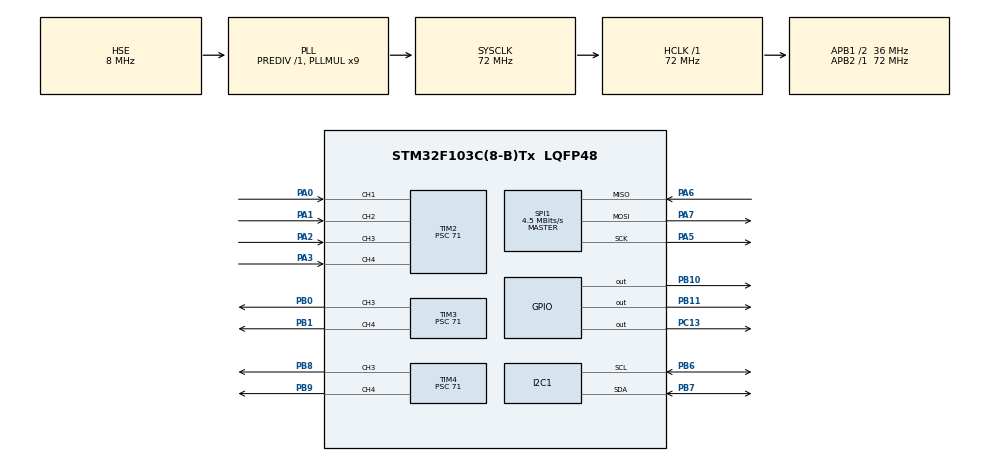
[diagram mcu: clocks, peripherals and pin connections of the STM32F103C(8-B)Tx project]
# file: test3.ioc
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I2C1.I2C_Mode=I2C_Fast
Mcu.Family=STM32F1
Mcu.Name=STM32F103C(8-B)Tx
Mcu.Package=LQFP48
NVIC.PriorityGroup=NVIC_PRIORITYGROUP_4
NVIC.TIM2_IRQn=true\:0\:0\:false\:false\:true\:true\:true\:true
NVIC.TIM3_IRQn=true\:0\:0\:false\:false\:true\:true\:true\:true
NVIC.TIM4_IRQn=true\:0\:0\:false\:false\:true\:true\:true\:true
PA0-WKUP.Signal=S_TIM2_CH1_ETR
PA1.Signal=S_TIM2_CH2
PA13.Mode=Serial_Wire
PA13.Signal=SYS_JTMS-SWDIO
PA14.Mode=Serial_Wire
PA14.Signal=SYS_JTCK-SWCLK
PA2.Signal=S_TIM2_CH3
PA3.Signal=S_TIM2_CH4
PA5.Mode=Full_Duplex_Master
PA5.Signal=SPI1_SCK
PA6.Mode=Full_Duplex_Master
PA6.Signal=SPI1_MISO
PA7.Mode=Full_Duplex_Master
PA7.Signal=SPI1_MOSI
PB0.Signal=S_TIM3_CH3
PB1.Signal=S_TIM3_CH4
PB10.Signal=GPIO_Output
PB11.Signal=GPIO_Output
PB6.Mode=I2C
PB6.Signal=I2C1_SCL
PB7.Mode=I2C
PB7.Signal=I2C1_SDA
PB8.Signal=S_TIM4_CH3
PB9.Signal=S_TIM4_CH4
PC13-TAMPER-RTC.Signal=GPIO_Output
PD0-OSC_IN.Mode=HSE-External-Oscillator
PD0-OSC_IN.Signal=RCC_OSC_IN
PD1-OSC_OUT.Mode=HSE-External-Oscillator
PD1-OSC_OUT.Signal=RCC_OSC_OUT
ProjectManager.HeapSize=0x200
ProjectManager.StackSize=0x400
ProjectManager.TargetToolchain=MDK-ARM V5.32
RCC.AHBFreq_Value=72000000
RCC.APB1CLKDivider=RCC_HCLK_DIV2
RCC.APB1Freq_Value=36000000
RCC.APB1TimFreq_Value=72000000
RCC.APB2Freq_Value=72000000
RCC.APB2TimFreq_Value=72000000
RCC.HCLKFreq_Value=72000000
RCC.PLLMUL=RCC_PLL_MUL9
RCC.PLLSourceVirtual=RCC_PLLSOURCE_HSE
RCC.SYSCLKFreq_VALUE=72000000
RCC.SYSCLKSource=RCC_SYSCLKSOURCE_PLLCLK
RCC.USBFreq_Value=72000000
SH.S_TIM2_CH1_ETR.0=TIM2_CH1,Input_Capture1_from_TI1
SH.S_TIM2_CH2.0=TIM2_CH2,Input_Capture2_from_TI2
SH.S_TIM2_CH3.0=TIM2_CH3,Input_Capture3_from_TI3
SH.S_TIM2_CH4.0=TIM2_CH4,Input_Capture4_from_TI4
SH.S_TIM3_CH3.0=TIM3_CH3,PWM Generation3 CH3
SH.S_TIM3_CH4.0=TIM3_CH4,PWM Generation4 CH4
SH.S_TIM4_CH3.0=TIM4_CH3,PWM Generation3 CH3
SH.S_TIM4_CH4.0=TIM4_CH4,PWM Generation4 CH4
SPI1.BaudRatePrescaler=SPI_BAUDRATEPRESCALER_16
SPI1.CalculateBaudRate=4.5 MBits/s
SPI1.Direction=SPI_DIRECTION_2LINES
SPI1.Mode=SPI_MODE_MASTER
SPI1.VirtualType=VM_MASTER
TIM2.Channel-Input_Capture1_from_TI1=TIM_CHANNEL_1
TIM2.Channel-Input_Capture2_from_TI2=TIM_CHANNEL_2
TIM2.Channel-Input_Capture3_from_TI3=TIM_CHANNEL_3
TIM2.Channel-Input_Capture4_from_TI4=TIM_CHANNEL_4
TIM2.Prescaler=71
TIM3.Channel-PWM\ Generation3\ CH3=TIM_CHANNEL_3
TIM3.Channel-PWM\ Generation4\ CH4=TIM_CHANNEL_4
TIM3.Period=3999
TIM3.Prescaler=71
TIM4.Channel-PWM\ Generation3\ CH3=TIM_CHANNEL_3
TIM4.Channel-PWM\ Generation4\ CH4=TIM_CHANNEL_4
TIM4.Period=3999
TIM4.Prescaler=71
board=custom

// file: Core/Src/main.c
/* USER CODE BEGIN Header */
/**
  ******************************************************************************
  * @file           : main.c
  * @brief          : Main program body
  ******************************************************************************
  * @attention
  *
  * Copyright (c) 2024 STMicroelectronics.
  * All rights reserved.
  *
  * This software is licensed under terms that can be found in the LICENSE file
  * in the root directory of this software component.
  * If no LICENSE file comes with this software, it is provided AS-IS.
  *
  ******************************************************************************
  */
/* USER CODE END Header */
#include "main.h"

/* USER CODE BEGIN Includes */
#include <math.h>
#include <stdlib.h>
#include <stdint.h>
#include <stdbool.h>
#include "MY_NRF24.h"
/* USER CODE END Includes */

/* USER CODE BEGIN PTD */
#define MPU6050_ADDR 			0x68<<1
#define SMPLRT_DIV_REG 		0x19
#define GYRO_CONFIG_REG 	0x1B
#define ACCEL_CONFIG_REG 	0x1C
#define ACCEL_XOUT_H_REG  0x3B
#define TEMP_OUT_H_REG 		0x41
#define GYRO_XOUT_H_REG 	0x43
#define PWR_MGMT_1_REG 		0x6B
#define CONFIG       			0x1A

/* USER CODE END PTD */

I2C_HandleTypeDef hi2c1;

SPI_HandleTypeDef hspi1;

TIM_HandleTypeDef htim2;
TIM_HandleTypeDef htim3;
TIM_HandleTypeDef htim4;

/* USER CODE BEGIN PV */
uint8_t data;
uint32_t looptimer;
uint8_t buffer[2], tuffer[6], cuffer[6];
int16_t gyro_raw[3], acc_raw[3];
float gyro_cal[3];
float acc_cal[3];
int16_t acc_total_vector;
float angle_pitch_gyro, angle_roll_gyro;
float angle_pitch_acc, angle_roll_acc;
float angle_pitch, angle_roll;

int16_t raw_temp; float temp;
int i;
float prevtime, prevtime1,time1,elapsedtime1,prevtime2, time2,elapsedtime2;

float RateRoll, RatePitch, RateYaw;
float AccX, AccY, AccZ;

// kalman
float KalmanAngleRoll  =0,  Kalman_ERR_AngleRoll  = 2*2 ; // gia su sai so theo moi truc la 2
float KalmanAnglePitch =0,  Kalman_ERR_AnglePitch = 2*2 ;
float Kalman_ouput[2] = {0,0}; // angle prediction, uncertainly of the predictiobn

											//PID

float pid_set_points_roll,pid_set_points_pitch,pid_set_points_yaw; // roll, pitch, yaw
int pid_max[3] = { 400, 400, 400 };		 // roll, pitch, yaw
// Errors
float errors[3]; // Measured errors (compared to instructions) : [roll, pitch, yaw]
float delta_err[3] = { 0, 0, 0 }; // Error deltas in that order   : roll, pitch, yaw
float error_sum[3] = { 0, 0, 0 }; // Error sums (used for integral component) : [roll, pitch, yaw]
float previous_error[3] = { 0, 0, 0 }; // Last errors (used for derivative component) : [roll, pitch, yaw]
float angular_motions[3] = { 0, 0, 0 };
// PID coefficients

//float Kp[3] = { 1, 1, 0.5};
//float Ki[3] = {0.03, 0.03, 0.02}; 	 	// I: roll, pitch, yaw
//float Kd[3] = { 0.01, 0.01, 0 };         // D: roll, pitch, yaw

//float Kp[3] = { 0.9, 0.9, 1};
//float Ki[3] = {0.03, 0.03, 0.02}; 	 	// I: roll, pitch, yaw
//float Kd[3] = { 0.02, 0.02, 0.02 };         // D: roll, pitch, yaw

float Kp[3] = { 1, 1, 1};
float Ki[3] = {0.03, 0.03, 0.02}; 	 	// I: roll, pitch, yaw
float Kd[3] = { 0.01, 0.01, 0 };         // D: roll, pitch, yaw

float pid_roll = 0;
float pid_pitch = 0;
float pid_yaw = 0;

#define roll     0
#define pitch    1
#define yaw      2

float roll_level_adjust, pitch_level_adjust;

float capture1,capture2,capture3,capture4;
// Esc and active

uint8_t active, first_angle = 0;
int16_t esc1, esc2, esc3, esc4,throttle;

// NRF24 transmit
uint64_t TxpipeAddrs = 0x11223344AA;
float myTxData[32];

/* USER CODE END PV */

void SystemClock_Config(void);
static void MX_GPIO_Init(void);
static void MX_I2C1_Init(void);
static void MX_SPI1_Init(void);
static void MX_TIM2_Init(void);
static void MX_TIM3_Init(void);
static void MX_TIM4_Init(void);

/* USER CODE BEGIN 0 */

//Input capture callback
uint32_t channel_1_start, channel_1;
uint32_t channel_2_start, channel_2;
uint32_t channel_3_start, channel_3;
uint32_t channel_4_start, channel_4;

volatile uint32_t diff1 = 0, diff2 = 0, diff3 = 0, diff4 = 0;

uint8_t firt_capture1 = 0, firt_capture2 = 0, firt_capture3 = 0, firt_capture4 =0;	//fist_capture? 0-no 1-yes

void HAL_TIM_IC_CaptureCallback(TIM_HandleTypeDef *htim)
{
	if (htim->Channel == HAL_TIM_ACTIVE_CHANNEL_1) {
		if (firt_capture1 == 0) {
			channel_1_start = HAL_TIM_ReadCapturedValue(htim, TIM_CHANNEL_1);
			firt_capture1 = 1;
			__HAL_TIM_SET_CAPTUREPOLARITY(htim, TIM_CHANNEL_1,TIM_INPUTCHANNELPOLARITY_FALLING);
		} else if (firt_capture1 == 1) {
			channel_1 = HAL_TIM_ReadCapturedValue(htim, TIM_CHANNEL_1);
			if (channel_1 > channel_1_start)
				diff1 = channel_1 - channel_1_start;
			else if (channel_1 < channel_1_start)
				diff1 = (0xffff - channel_1_start) + channel_1;

			__HAL_TIM_SET_CAPTUREPOLARITY(htim, TIM_CHANNEL_1,TIM_INPUTCHANNELPOLARITY_RISING);
			firt_capture1 = 0;
		}
	}
	if (htim->Channel == HAL_TIM_ACTIVE_CHANNEL_2) {
		if (firt_capture2 == 0) {					//read
			channel_2_start = HAL_TIM_ReadCapturedValue(htim, TIM_CHANNEL_2);
			firt_capture2 = 1;
			__HAL_TIM_SET_CAPTUREPOLARITY(htim, TIM_CHANNEL_2,
					TIM_INPUTCHANNELPOLARITY_FALLING);
		} else if (firt_capture2 == 1) {
			channel_2 = HAL_TIM_ReadCapturedValue(htim, TIM_CHANNEL_2);
			if (channel_2 > channel_2_start)
				diff2 = channel_2 - channel_2_start;
			else if (channel_2 < channel_2_start)
				diff2 = (0xffff - channel_2_start) + channel_2;

			__HAL_TIM_SET_CAPTUREPOLARITY(htim, TIM_CHANNEL_2,
					TIM_INPUTCHANNELPOLARITY_RISING);
			firt_capture2 = 0;
		}
	}
	if (htim->Channel == HAL_TIM_ACTIVE_CHANNEL_3) {
		if (firt_capture3 == 0) {					//read
			channel_3_start = HAL_TIM_ReadCapturedValue(htim, TIM_CHANNEL_3);
			firt_capture3 = 1;
			//Change the input capture mode to the falling edge of the pulse
			__HAL_TIM_SET_CAPTUREPOLARITY(htim, TIM_CHANNEL_3,
					TIM_INPUTCHANNELPOLARITY_FALLING);
		} else if (firt_capture3 == 1) {
			channel_3 = HAL_TIM_ReadCapturedValue(htim, TIM_CHANNEL_3);
			if (channel_3 > channel_3_start)
				diff3 = channel_3 - channel_3_start;
			else if (channel_3 < channel_3_start)
				diff3 = (0xffff - channel_3_start) + channel_3;

			__HAL_TIM_SET_CAPTUREPOLARITY(htim, TIM_CHANNEL_3,
					TIM_INPUTCHANNELPOLARITY_RISING);
			firt_capture3 = 0;
		}
	}
	if (htim->Channel == HAL_TIM_ACTIVE_CHANNEL_4) {
		if (firt_capture4 == 0) {					//read
			channel_4_start = HAL_TIM_ReadCapturedValue(htim, TIM_CHANNEL_4);
			firt_capture4 = 1;
			//Change the input capture mode to the falling edge of the pulse
			__HAL_TIM_SET_CAPTUREPOLARITY(htim, TIM_CHANNEL_4,
					TIM_INPUTCHANNELPOLARITY_FALLING);
		} else if (firt_capture4 == 1) {
			channel_4 = HAL_TIM_ReadCapturedValue(htim, TIM_CHANNEL_4);
			if (channel_4 > channel_4_start)
				diff4 = channel_4 - channel_4_start;
			else if (channel_4 < channel_4_start)
				diff4 = (0xffff - channel_4_start) + channel_4;

			__HAL_TIM_SET_CAPTUREPOLARITY(htim, TIM_CHANNEL_4,
					TIM_INPUTCHANNELPOLARITY_RISING);
			firt_capture4 = 0;
		}
	}
}

// KALMAN
void Kalman (float KalmanState, float KalmanUncertainty, float KalmanInput, float KalmanMeasurement)  // kalma angle predictio, error, RateRoll, angle_roll
{
    KalmanState = KalmanState + 0.004 * KalmanInput; // 1/250
    KalmanUncertainty = KalmanUncertainty + 0.004 * 0.004 * 4 *4 ; 				//( T^2 * ERR^2)
    float KalmanGain = KalmanUncertainty* 1/ (1*KalmanUncertainty + 3*3) ;// err in measure
    KalmanState = KalmanState + KalmanGain * (KalmanMeasurement - KalmanState);  // current estimate
    KalmanUncertainty = (1- KalmanGain) * KalmanUncertainty;   // error in estimate

    Kalman_ouput[0] = KalmanState;
    Kalman_ouput[1] = KalmanUncertainty; // error estimate
}

// MPUinit
void MPU6050_Init()
{
  // power management register 0X6B we should write all 0's to wake the sensor up
  data =  0x00;
  HAL_I2C_Mem_Write(&hi2c1, MPU6050_ADDR, PWR_MGMT_1_REG,1 , &data, 1, HAL_MAX_DELAY);

	data =  0x05;
  HAL_I2C_Mem_Write(&hi2c1, MPU6050_ADDR, CONFIG,1 , &data, 1, HAL_MAX_DELAY);

  // Set Gyroscopic configuration in GYRO_CONFIG Register
		// XG_ST=0,YG_ST=0,ZG_ST=0, FS_SEL=1 -> ± 500 °/s
  data =  0x08;
  HAL_I2C_Mem_Write(&hi2c1, MPU6050_ADDR, GYRO_CONFIG_REG,1 , &data, 1, HAL_MAX_DELAY);

  // Set accelerometer configuration in ACCEL_CONFIG Register
		// XA_ST=0,YA_ST=0,ZA_ST=0, FS_SEL=3 -> ± 8g
  data =  0x10;
  HAL_I2C_Mem_Write(&hi2c1, MPU6050_ADDR, ACCEL_CONFIG_REG,1 , &data, 1, HAL_MAX_DELAY);
}

void Calibrate()
  {
    for ( i=0;i < 2000; i++)
    {
			if (i % 125 ==0) HAL_GPIO_TogglePin(GPIOC, GPIO_PIN_13);
//      prevtime2 = time2;
//      time2 = HAL_GetTick();
//      elapsedtime2 = (time2 - prevtime2) * 1000;
      cuffer[0] = 0x43 ;
      HAL_I2C_Master_Transmit(&hi2c1,MPU6050_ADDR, cuffer,1, HAL_MAX_DELAY);
      HAL_I2C_Master_Receive (&hi2c1,MPU6050_ADDR,cuffer, 6, HAL_MAX_DELAY);

      gyro_raw[0] = (cuffer[0] << 8 | cuffer[1]);
      gyro_raw[1] = (cuffer[2] << 8 | cuffer[3]);
      gyro_raw[2] = (cuffer[4] << 8 | cuffer[5]);

      gyro_cal[0] += gyro_raw[0];
      gyro_cal[1] += gyro_raw[1];
      gyro_cal[2] += gyro_raw[2];
      HAL_Delay(4);
    }
      gyro_cal[0] /= 2000;
      gyro_cal[1] /= 2000;
      gyro_cal[2] /= 2000;

		// calibrate value for acc
      acc_cal[0] = -50;
      acc_cal[1] = 50;
      acc_cal[2] = -560;
  }

  void Read_mpu_all()
  {
    tuffer[0] = 0x3B;
    HAL_I2C_Master_Transmit(&hi2c1,MPU6050_ADDR,tuffer,1, HAL_MAX_DELAY);
    HAL_I2C_Master_Receive(&hi2c1,MPU6050_ADDR,tuffer,6, HAL_MAX_DELAY);

    acc_raw[0] = (tuffer[0] << 8 | tuffer[1]) ; // roll
    acc_raw[1] = (tuffer[2] << 8 | tuffer[3]) ;//  pitch
    acc_raw[2] = (tuffer[4] << 8 | tuffer[5]) ;//  yaw

    acc_raw[0] += acc_cal[0];
    acc_raw[1] += acc_cal[1];
    acc_raw[2] += acc_cal[2];

    AccX= (float) acc_raw[0] / 4096;
    AccY= (float) acc_raw[1] / 4096;
    AccZ= (float) acc_raw[2] / 4096;

    angle_roll  =  atan(AccY / sqrt(AccX * AccX + AccZ* AccZ)) * 1/ (3.142/180);
    angle_pitch = -atan(AccX / sqrt(AccY * AccY + AccZ* AccZ)) * 1/ (3.142/180);

    buffer[0] = 0x41;
     HAL_I2C_Master_Transmit(&hi2c1,MPU6050_ADDR, buffer, 1,HAL_MAX_DELAY);
     HAL_I2C_Master_Receive(&hi2c1,MPU6050_ADDR, buffer, 2,HAL_MAX_DELAY);

    //  _temp
    raw_temp = (buffer[0] << 8  | buffer[1]);
    temp = (raw_temp /340.0) + 36.53;

    cuffer[0] = 0x43;
    HAL_I2C_Master_Transmit(&hi2c1,MPU6050_ADDR, cuffer, 1,HAL_MAX_DELAY);
    HAL_I2C_Master_Receive(&hi2c1,MPU6050_ADDR, cuffer, 6,HAL_MAX_DELAY);

    gyro_raw[0] = (cuffer[0] << 8 | cuffer[1]);
    gyro_raw[1] = (cuffer[2] << 8 | cuffer[3]);
    gyro_raw[2] = (cuffer[4] << 8 | cuffer[5]);

    gyro_raw[0] -= gyro_cal[0];
    gyro_raw[1] -= gyro_cal[1];
    gyro_raw[2] -= gyro_cal[2];

    RateRoll = (float) gyro_raw[0] /65.5;
    RatePitch = (float) gyro_raw[1] /65.5;
    RateYaw = (float) gyro_raw[2]  /65.5;

    // RateRoll = 0.7 * RateRoll + ((float) gyro_raw[0] /65.5) * 0.3;   // dec/s
    // RatePitch = 0.7 * RatePitch + ((float) gyro_raw[1] /65.5) * 0.3;
    // RateYaw = 0.7 * RateYaw + ((float) gyro_raw[2]  /65.5) * 0.3;
  }

void reset_pid(void)
  {
      errors[0] = 0;
			errors[1] = 0;
			errors[2] = 0;
			delta_err[0] = 0;
			delta_err[1] = 0;
			delta_err[2] = 0;
			error_sum[0] = 0;
			error_sum[1] = 0;
			error_sum[2] = 0;
			previous_error[0] = 0;
			previous_error[1] = 0;
			previous_error[2] = 0;
			pid_roll = 0;
			pid_pitch = 0;
			pid_yaw = 0;
  }

/* USER CODE END 0 */

int main(void)
{

  /* MCU Configuration--------------------------------------------------------*/

  /* Reset of all peripherals, Initializes the Flash interface and the Systick. */
  HAL_Init();

  /* Configure the system clock */
  SystemClock_Config();

  /* Initialize all configured peripherals */
  MX_GPIO_Init();
  MX_I2C1_Init();
  MX_SPI1_Init();
  MX_TIM2_Init();
  MX_TIM3_Init();
  MX_TIM4_Init();
  /* USER CODE BEGIN 2 */
	MPU6050_Init();
  Calibrate();
	NRF24_begin(GPIOB, GPIO_PIN_11, GPIO_PIN_10, hspi1);
	//NRF24_begin(GPIOB, CSNpin_Pin, CEpin_Pin, hspi1);
	NRF24_stopListening();
	NRF24_openWritingPipe(TxpipeAddrs);
	NRF24_setAutoAck(true);
	NRF24_setChannel(52);
	NRF24_setPayloadSize(32);
	NRF24_enableDynamicPayloads();
	NRF24_enableAckPayload();

  HAL_TIM_IC_Start_IT(&htim2, TIM_CHANNEL_1);
	HAL_TIM_IC_Start_IT(&htim2, TIM_CHANNEL_2);
	HAL_TIM_IC_Start_IT(&htim2, TIM_CHANNEL_3);
	HAL_TIM_IC_Start_IT(&htim2, TIM_CHANNEL_4);
	//wait for connection tx-rx
	while (diff1 < 990 || diff2 < 990 || diff3 < 990 || diff4 < 990);
	//while (diff3 < 990 || diff3 > 1050);

	HAL_TIM_PWM_Start(&htim3, TIM_CHANNEL_3);
	HAL_TIM_PWM_Start(&htim3, TIM_CHANNEL_4);
	HAL_TIM_PWM_Start(&htim4, TIM_CHANNEL_3);
	HAL_TIM_PWM_Start(&htim4, TIM_CHANNEL_4);

	//------------------------------------------------------
	//esc calibration
	__HAL_TIM_SET_COMPARE(&htim3, TIM_CHANNEL_3, 2000);	//fl
	__HAL_TIM_SET_COMPARE(&htim3, TIM_CHANNEL_4, 2000);	//fr
	__HAL_TIM_SET_COMPARE(&htim4, TIM_CHANNEL_3, 2000);	//rr
	__HAL_TIM_SET_COMPARE(&htim4, TIM_CHANNEL_4, 2000); //rl

	HAL_Delay(50);

	__HAL_TIM_SET_COMPARE(&htim3, TIM_CHANNEL_3, 1000);	//fl
	__HAL_TIM_SET_COMPARE(&htim3, TIM_CHANNEL_4, 1000);	//fr
	__HAL_TIM_SET_COMPARE(&htim4, TIM_CHANNEL_3, 1000);	//rr
	__HAL_TIM_SET_COMPARE(&htim4, TIM_CHANNEL_4, 1000); //rl

	HAL_Delay(300);
	//HAL_GPIO_WritePin(GPIOC, GPIO_PIN_13, GPIO_PIN_SET);
	for (int i = 0; i < 20; i++) {
		HAL_GPIO_TogglePin(GPIOC, GPIO_PIN_13);
		HAL_Delay(100);
	}

	//prevtime = HAL_GetTick();
  /* USER CODE END 2 */

  /* Infinite loop */
  while (1)
  {

    /* USER CODE BEGIN 3 */

    // prevtime1 = time1;
    // time1 = HAL_GetTick();
    // elapsedtime1 = (time1 - prevtime1) * 1000;
		capture1 = diff1;
		capture2 = diff2;
    capture3 = diff3;
		capture4 = diff4;

    Read_mpu_all();
		angular_motions[roll] = 0.7 * angular_motions[roll]+ ((float) gyro_raw[0] * 0.3 / 65.5); //Gyro pid input is deg/sec.
		angular_motions[pitch] = 0.7 * angular_motions[pitch]+ ((float) gyro_raw[1] * 0.3 / 65.5);
		angular_motions[yaw] = 0.7 * angular_motions[yaw]+ ((float) gyro_raw[2] * 0.3 / 65.5);

    Kalman(KalmanAngleRoll,Kalman_ERR_AngleRoll, RateRoll, angle_roll);
    KalmanAngleRoll = Kalman_ouput[0];
    Kalman_ERR_AngleRoll = Kalman_ouput[1];

    Kalman(KalmanAnglePitch,Kalman_ERR_AnglePitch, RatePitch, angle_pitch);
    KalmanAnglePitch = Kalman_ouput[0];
    Kalman_ERR_AnglePitch = Kalman_ouput[1];

    // active
		pitch_level_adjust =  KalmanAnglePitch* 15;                                           //Calculate the pitch angle correction.
		roll_level_adjust = KalmanAngleRoll * 15;

    if (capture3 < 1050 && capture4 < 1300)
			active = 1;
		if (active == 1 && capture3 < 1050 && capture4 > 1550)
    {
			active = 2;
			//Reset the PID controllers for a bumpless start.
		  reset_pid();
		}
     if (active == 2 && capture3 < 1050 && capture4 > 1700) active = 0;

    pid_set_points_roll = 0;
		pid_set_points_pitch = 0;
		pid_set_points_yaw = 0;

		if (capture1 > 1510)
			pid_set_points_roll = (capture1 - 1510)/3;
		else if (capture1 < 1490)
			pid_set_points_roll = (capture1 - 1490)/3;

		pid_set_points_roll = pid_set_points_roll - roll_level_adjust;

		//pid_set_points[roll] = pid_set_points[roll]/3;

		if (capture2 > 1510)
			pid_set_points_pitch = (capture2 - 1510)/3;
		else if (capture2 < 1490)
			pid_set_points_pitch = (capture2 - 1490)/3;

	    pid_set_points_pitch = pid_set_points_pitch - pitch_level_adjust;

		if (capture3 > 1150) {  //Do not yaw when turning off the motors.
			if (capture4 > 1510)
				pid_set_points_yaw = (capture4 - 1510)/3;
			else if (capture4 < 1490)
				pid_set_points_yaw = (capture4 - 1490) /3;

		}

		// Calculate current errors
		errors[roll] = angular_motions[roll] - pid_set_points_roll;
		errors[pitch] = angular_motions[pitch] - pid_set_points_pitch;
		errors[yaw] = angular_motions[yaw] - pid_set_points_yaw;

		// Calculate sum of errors : Integral coefficients
		error_sum[roll]  += errors[roll];
		error_sum[pitch] += errors[pitch];
		error_sum[yaw]   += errors[yaw];

		// Keep values in acceptable range
		if (error_sum[roll] < (-180 / Ki[roll]))
			error_sum[roll] = -180 / Ki[roll];
		if (error_sum[roll] > 180 / Ki[roll])
			error_sum[roll] = 180 / Ki[roll];
		if (error_sum[pitch] < (-180 / Ki[pitch]))
			error_sum[pitch] = -180 / Ki[pitch];
		if (error_sum[pitch] > 180 / Ki[pitch])
			error_sum[pitch] = 180 / Ki[pitch];
		if (error_sum[yaw] < (-180 / Ki[yaw]))
			error_sum[yaw] = -180 / Ki[yaw];
		if (error_sum[yaw] > 180 / Ki[yaw])
			error_sum[yaw] = 180 / Ki[yaw];

		// Calculate error delta : Derivative coefficients
		delta_err[roll] = errors[roll] - previous_error[roll];
		delta_err[pitch] = errors[pitch] - previous_error[pitch];
		delta_err[yaw] = errors[yaw] - previous_error[yaw];

		// Save current error as previous_error for next time
		previous_error[roll] = errors[roll];
		previous_error[pitch] = errors[pitch];
		previous_error[yaw] = errors[yaw];

		throttle = capture3;

			// PID = e.Kp + ∫e.Ki.t + Δe.Kd/t
			pid_roll = (errors[roll] * Kp[roll])
					+ (error_sum[roll] * Ki[roll]) * 0.01
					+ (delta_err[roll] * Kd[roll]) / 0.01;
			pid_pitch = (errors[pitch] * Kp[pitch])
					+ (error_sum[pitch] * Ki[pitch]) * 0.01
					+ (delta_err[pitch] * Kd[pitch]) / 0.01;
			pid_yaw = (errors[yaw] * Kp[yaw])
					+ (error_sum[yaw] * Ki[yaw]) * 0.01
					+ (delta_err[yaw] * Kd[yaw]) / 0.01;

			if (pid_roll > pid_max[roll])
				pid_roll = pid_max[roll];
			if (pid_roll < (-pid_max[roll]))
				pid_roll = -pid_max[roll];
			if (pid_pitch > pid_max[pitch])
				pid_pitch = pid_max[pitch];
			if (pid_pitch < (-pid_max[pitch]))
				pid_pitch = -pid_max[pitch];
			if (pid_yaw > pid_max[yaw])
				pid_yaw = pid_max[yaw];
			if (pid_yaw < (-pid_max[yaw]))
				pid_yaw = -pid_max[yaw];

    if (active == 2)
    {
			if (throttle > 1800)
				throttle = 1800;

			esc1 = throttle + pid_roll + pid_pitch + pid_yaw ; //Calculate the pulse for esc 1 (front-right - CCW).
			esc2 = throttle - pid_roll + pid_pitch - pid_yaw; //Calculate the pulse for esc 2 (front-left - CW).
			esc3 = throttle - pid_roll- pid_pitch + pid_yaw ; //Calculate the pulse for esc 3 (rear-left - CCW).
			esc4 = throttle + pid_roll - pid_pitch - pid_yaw ; //Calculate the pulse for esc 4 (rear-right - CW).

			if (esc1 < 1100)
				esc1 = 1100;  //Keep the motors running.
			if (esc2 < 1100)
				esc2 = 1100;  //Keep the motors running.
			if (esc3 < 1100)
				esc3 = 1100;  //Keep the motors running.
			if (esc4 < 1100)
				esc4 = 1100;  //Keep the motors running.

			if (esc1 > 2000)
				esc1 = 2000;  //Limit the esc-1 pulse to 2000us.
			if (esc2 > 2000)
				esc2 = 2000;  //Limit the esc-2 pulse to 2000us.
			if (esc3 > 2000)
				esc3 = 2000;  //Limit the esc-3 pulse to 2000us.
			if (esc4 > 2000)
				esc4 = 2000;  //Limit the esc-4 pulse to 2000us.
		}
    else {
			esc1 = 1000;
			esc2 = 1000;
			esc3 = 1000;
			esc4 = 1000;
		  }

		__HAL_TIM_SET_COMPARE(&htim3, TIM_CHANNEL_3, esc1);			//fr
		__HAL_TIM_SET_COMPARE(&htim3, TIM_CHANNEL_4, esc2);			//fl
		__HAL_TIM_SET_COMPARE(&htim4, TIM_CHANNEL_3, esc4);			//br
		__HAL_TIM_SET_COMPARE(&htim4, TIM_CHANNEL_4, esc3);			//bl

		myTxData[0] =KalmanAngleRoll;
		myTxData[1] =KalmanAnglePitch;
		//myTxData[2] =esc1;
		//myTxData[3] =esc2;
		//myTxData[4] =esc3;
		//myTxData[5] =esc4;

		NRF24_write(myTxData, 32);

	while ((HAL_GetTick() - prevtime) * 1000 < 10000);
	prevtime = HAL_GetTick();

  }

		// Transmit data

  /* USER CODE END 3 */
}

void SystemClock_Config(void)
{
  RCC_OscInitTypeDef RCC_OscInitStruct = {0};
  RCC_ClkInitTypeDef RCC_ClkInitStruct = {0};

  /** Initializes the RCC Oscillators according to the specified parameters
  * in the RCC_OscInitTypeDef structure.
  */
  RCC_OscInitStruct.OscillatorType = RCC_OSCILLATORTYPE_HSE;
  RCC_OscInitStruct.HSEState = RCC_HSE_ON;
  RCC_OscInitStruct.HSEPredivValue = RCC_HSE_PREDIV_DIV1;
  RCC_OscInitStruct.HSIState = RCC_HSI_ON;
  RCC_OscInitStruct.PLL.PLLState = RCC_PLL_ON;
  RCC_OscInitStruct.PLL.PLLSource = RCC_PLLSOURCE_HSE;
  RCC_OscInitStruct.PLL.PLLMUL = RCC_PLL_MUL9;
  if (HAL_RCC_OscConfig(&RCC_OscInitStruct) != HAL_OK)
  {
    Error_Handler();
  }

  /** Initializes the CPU, AHB and APB buses clocks
  */
  RCC_ClkInitStruct.ClockType = RCC_CLOCKTYPE_HCLK|RCC_CLOCKTYPE_SYSCLK
                              |RCC_CLOCKTYPE_PCLK1|RCC_CLOCKTYPE_PCLK2;
  RCC_ClkInitStruct.SYSCLKSource = RCC_SYSCLKSOURCE_PLLCLK;
  RCC_ClkInitStruct.AHBCLKDivider = RCC_SYSCLK_DIV1;
  RCC_ClkInitStruct.APB1CLKDivider = RCC_HCLK_DIV2;
  RCC_ClkInitStruct.APB2CLKDivider = RCC_HCLK_DIV1;

  if (HAL_RCC_ClockConfig(&RCC_ClkInitStruct, FLASH_LATENCY_2) != HAL_OK)
  {
    Error_Handler();
  }
}

static void MX_I2C1_Init(void)
{

  hi2c1.Instance = I2C1;
  hi2c1.Init.ClockSpeed = 400000;
  hi2c1.Init.DutyCycle = I2C_DUTYCYCLE_2;
  hi2c1.Init.OwnAddress1 = 0;
  hi2c1.Init.AddressingMode = I2C_ADDRESSINGMODE_7BIT;
  hi2c1.Init.DualAddressMode = I2C_DUALADDRESS_DISABLE;
  hi2c1.Init.OwnAddress2 = 0;
  hi2c1.Init.GeneralCallMode = I2C_GENERALCALL_DISABLE;
  hi2c1.Init.NoStretchMode = I2C_NOSTRETCH_DISABLE;
  if (HAL_I2C_Init(&hi2c1) != HAL_OK)
  {
    Error_Handler();
  }

}

static void MX_SPI1_Init(void)
{

  /* SPI1 parameter configuration*/
  hspi1.Instance = SPI1;
  hspi1.Init.Mode = SPI_MODE_MASTER;
  hspi1.Init.Direction = SPI_DIRECTION_2LINES;
  hspi1.Init.DataSize = SPI_DATASIZE_8BIT;
  hspi1.Init.CLKPolarity = SPI_POLARITY_LOW;
  hspi1.Init.CLKPhase = SPI_PHASE_1EDGE;
  hspi1.Init.NSS = SPI_NSS_SOFT;
  hspi1.Init.BaudRatePrescaler = SPI_BAUDRATEPRESCALER_16;
  hspi1.Init.FirstBit = SPI_FIRSTBIT_MSB;
  hspi1.Init.TIMode = SPI_TIMODE_DISABLE;
  hspi1.Init.CRCCalculation = SPI_CRCCALCULATION_DISABLE;
  hspi1.Init.CRCPolynomial = 10;
  if (HAL_SPI_Init(&hspi1) != HAL_OK)
  {
    Error_Handler();
  }

}

static void MX_TIM2_Init(void)
{

  TIM_MasterConfigTypeDef sMasterConfig = {0};
  TIM_IC_InitTypeDef sConfigIC = {0};

  htim2.Instance = TIM2;
  htim2.Init.Prescaler = 71;
  htim2.Init.CounterMode = TIM_COUNTERMODE_UP;
  htim2.Init.Period = 65535;
  htim2.Init.ClockDivision = TIM_CLOCKDIVISION_DIV1;
  htim2.Init.AutoReloadPreload = TIM_AUTORELOAD_PRELOAD_DISABLE;
  if (HAL_TIM_IC_Init(&htim2) != HAL_OK)
  {
    Error_Handler();
  }
  sMasterConfig.MasterOutputTrigger = TIM_TRGO_RESET;
  sMasterConfig.MasterSlaveMode = TIM_MASTERSLAVEMODE_DISABLE;
  if (HAL_TIMEx_MasterConfigSynchronization(&htim2, &sMasterConfig) != HAL_OK)
  {
    Error_Handler();
  }
  sConfigIC.ICPolarity = TIM_INPUTCHANNELPOLARITY_RISING;
  sConfigIC.ICSelection = TIM_ICSELECTION_DIRECTTI;
  sConfigIC.ICPrescaler = TIM_ICPSC_DIV1;
  sConfigIC.ICFilter = 0;
  if (HAL_TIM_IC_ConfigChannel(&htim2, &sConfigIC, TIM_CHANNEL_1) != HAL_OK)
  {
    Error_Handler();
  }
  if (HAL_TIM_IC_ConfigChannel(&htim2, &sConfigIC, TIM_CHANNEL_2) != HAL_OK)
  {
    Error_Handler();
  }
  if (HAL_TIM_IC_ConfigChannel(&htim2, &sConfigIC, TIM_CHANNEL_3) != HAL_OK)
  {
    Error_Handler();
  }
  if (HAL_TIM_IC_ConfigChannel(&htim2, &sConfigIC, TIM_CHANNEL_4) != HAL_OK)
  {
    Error_Handler();
  }

}

static void MX_TIM3_Init(void)
{

  TIM_MasterConfigTypeDef sMasterConfig = {0};
  TIM_OC_InitTypeDef sConfigOC = {0};

  htim3.Instance = TIM3;
  htim3.Init.Prescaler = 71;
  htim3.Init.CounterMode = TIM_COUNTERMODE_UP;
  htim3.Init.Period = 3999;
  htim3.Init.ClockDivision = TIM_CLOCKDIVISION_DIV1;
  htim3.Init.AutoReloadPreload = TIM_AUTORELOAD_PRELOAD_DISABLE;
  if (HAL_TIM_PWM_Init(&htim3) != HAL_OK)
  {
    Error_Handler();
  }
  sMasterConfig.MasterOutputTrigger = TIM_TRGO_RESET;
  sMasterConfig.MasterSlaveMode = TIM_MASTERSLAVEMODE_DISABLE;
  if (HAL_TIMEx_MasterConfigSynchronization(&htim3, &sMasterConfig) != HAL_OK)
  {
    Error_Handler();
  }
  sConfigOC.OCMode = TIM_OCMODE_PWM1;
  sConfigOC.Pulse = 0;
  sConfigOC.OCPolarity = TIM_OCPOLARITY_HIGH;
  sConfigOC.OCFastMode = TIM_OCFAST_DISABLE;
  if (HAL_TIM_PWM_ConfigChannel(&htim3, &sConfigOC, TIM_CHANNEL_3) != HAL_OK)
  {
    Error_Handler();
  }
  if (HAL_TIM_PWM_ConfigChannel(&htim3, &sConfigOC, TIM_CHANNEL_4) != HAL_OK)
  {
    Error_Handler();
  }
  HAL_TIM_MspPostInit(&htim3);

}

static void MX_TIM4_Init(void)
{

  TIM_MasterConfigTypeDef sMasterConfig = {0};
  TIM_OC_InitTypeDef sConfigOC = {0};

  htim4.Instance = TIM4;
  htim4.Init.Prescaler = 71;
  htim4.Init.CounterMode = TIM_COUNTERMODE_UP;
  htim4.Init.Period = 3999;
  htim4.Init.ClockDivision = TIM_CLOCKDIVISION_DIV1;
  htim4.Init.AutoReloadPreload = TIM_AUTORELOAD_PRELOAD_DISABLE;
  if (HAL_TIM_PWM_Init(&htim4) != HAL_OK)
  {
    Error_Handler();
  }
  sMasterConfig.MasterOutputTrigger = TIM_TRGO_RESET;
  sMasterConfig.MasterSlaveMode = TIM_MASTERSLAVEMODE_DISABLE;
  if (HAL_TIMEx_MasterConfigSynchronization(&htim4, &sMasterConfig) != HAL_OK)
  {
    Error_Handler();
  }
  sConfigOC.OCMode = TIM_OCMODE_PWM1;
  sConfigOC.Pulse = 0;
  sConfigOC.OCPolarity = TIM_OCPOLARITY_HIGH;
  sConfigOC.OCFastMode = TIM_OCFAST_DISABLE;
  if (HAL_TIM_PWM_ConfigChannel(&htim4, &sConfigOC, TIM_CHANNEL_3) != HAL_OK)
  {
    Error_Handler();
  }
  if (HAL_TIM_PWM_ConfigChannel(&htim4, &sConfigOC, TIM_CHANNEL_4) != HAL_OK)
  {
    Error_Handler();
  }
  HAL_TIM_MspPostInit(&htim4);

}

static void MX_GPIO_Init(void)
{
  GPIO_InitTypeDef GPIO_InitStruct = {0};

  /* GPIO Ports Clock Enable */
  __HAL_RCC_GPIOC_CLK_ENABLE();
  __HAL_RCC_GPIOD_CLK_ENABLE();
  __HAL_RCC_GPIOA_CLK_ENABLE();
  __HAL_RCC_GPIOB_CLK_ENABLE();

  /*Configure GPIO pin Output Level */
  HAL_GPIO_WritePin(GPIOC, GPIO_PIN_13, GPIO_PIN_RESET);

  /*Configure GPIO pin Output Level */
  HAL_GPIO_WritePin(GPIOB, GPIO_PIN_10|GPIO_PIN_11, GPIO_PIN_RESET);

  /*Configure GPIO pin : PC13 */
  GPIO_InitStruct.Pin = GPIO_PIN_13;
  GPIO_InitStruct.Mode = GPIO_MODE_OUTPUT_PP;
  GPIO_InitStruct.Pull = GPIO_NOPULL;
  GPIO_InitStruct.Speed = GPIO_SPEED_FREQ_LOW;
  HAL_GPIO_Init(GPIOC, &GPIO_InitStruct);

  /*Configure GPIO pins : PB10 PB11 */
  GPIO_InitStruct.Pin = GPIO_PIN_10|GPIO_PIN_11;
  GPIO_InitStruct.Mode = GPIO_MODE_OUTPUT_PP;
  GPIO_InitStruct.Pull = GPIO_NOPULL;
  GPIO_InitStruct.Speed = GPIO_SPEED_FREQ_LOW;
  HAL_GPIO_Init(GPIOB, &GPIO_InitStruct);

}

void Error_Handler(void)
{
  __disable_irq();
  while (1)
  {
  }
}
